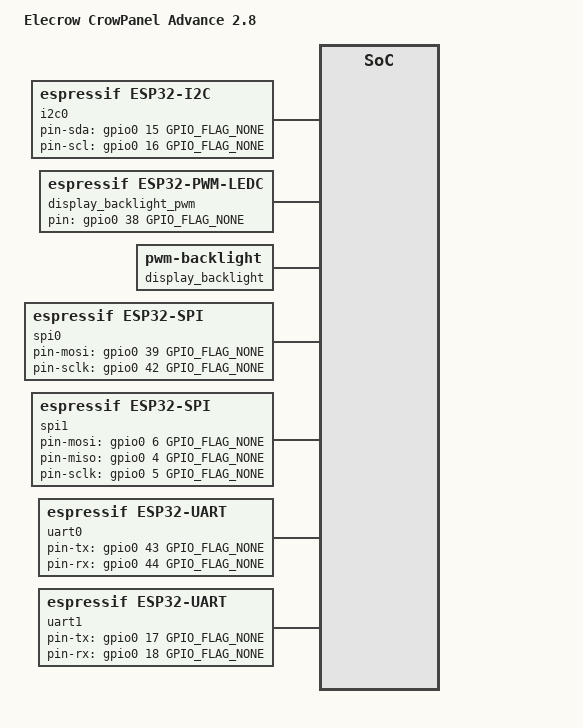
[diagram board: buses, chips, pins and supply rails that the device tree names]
/dts-v1/;

#include <tactility/bindings/root.h>
#include <tactility/bindings/esp32_ble.h>
#include <tactility/bindings/esp32_wifi_pinned.h>
#include <tactility/bindings/esp32_gpio.h>
#include <tactility/bindings/esp32_i2c.h>
#include <tactility/bindings/esp32_spi.h>
#include <tactility/bindings/esp32_uart.h>
#include <tactility/bindings/esp32_sdspi.h>
#include <tactility/bindings/esp32_pwm_ledc.h>
#include <tactility/bindings/pwm_backlight.h>
#include <bindings/st7789.h>
#include <bindings/ft5x06.h>

/ {
	compatible = "root";
	model = "Elecrow CrowPanel Advance 2.8";

	wifi0 {
		compatible = "espressif,esp32-wifi-pinned";
		status = "disabled";
	};

	ble0 {
		compatible = "espressif,esp32-ble";
		status = "disabled";
	};

	gpio0 {
		compatible = "espressif,esp32-gpio";
		gpio-count = <49>;
	};

	i2c0 {
		compatible = "espressif,esp32-i2c";
		port = <I2C_NUM_0>;
		clock-frequency = <400000>;
		pin-sda = <&gpio0 15 GPIO_FLAG_NONE>;
		pin-scl = <&gpio0 16 GPIO_FLAG_NONE>;

		touch0 {
			compatible = "focaltech,ft5x06";
			reg = <0x38>;
			x-max = <240>;
			y-max = <320>;
		};
	};

	display_backlight_pwm {
		compatible = "espressif,esp32-pwm-ledc";
		pin = <&gpio0 38 GPIO_FLAG_NONE>;
		period-ns = <33333>;
		ledc-timer = <0>;
		ledc-channel = <0>;
	};

	display_backlight {
		compatible = "pwm-backlight";
		pwm = <&display_backlight_pwm>;
	};

	spi0 {
		compatible = "espressif,esp32-spi";
		host = <SPI2_HOST>;
		cs-gpios = <&gpio0 40 GPIO_FLAG_NONE>;
		pin-mosi = <&gpio0 39 GPIO_FLAG_NONE>;
		pin-sclk = <&gpio0 42 GPIO_FLAG_NONE>;

		display@0 {
			compatible = "sitronix,st7789";
			horizontal-resolution = <240>;
			vertical-resolution = <320>;
			invert-color;
			pixel-clock-hz = <62500000>;
			pin-dc = <&gpio0 41 GPIO_FLAG_NONE>;
			backlight = <&display_backlight>;
		};
	};

	spi1 {
		compatible = "espressif,esp32-spi";
		host = <SPI3_HOST>;
		cs-gpios = <&gpio0 7 GPIO_FLAG_NONE>;
		pin-mosi = <&gpio0 6 GPIO_FLAG_NONE>;
		pin-miso = <&gpio0 4 GPIO_FLAG_NONE>;
		pin-sclk = <&gpio0 5 GPIO_FLAG_NONE>;
	
		sdcard@0 {
			compatible = "espressif,esp32-sdspi";
			frequency-khz = <20000>;
		};
	};

	uart0 {
		compatible = "espressif,esp32-uart";
		port = <UART_NUM_0>;
		pin-tx = <&gpio0 43 GPIO_FLAG_NONE>;
		pin-rx = <&gpio0 44 GPIO_FLAG_NONE>;
	};

	uart1 {
		compatible = "espressif,esp32-uart";
		port = <UART_NUM_1>;
		pin-tx = <&gpio0 17 GPIO_FLAG_NONE>;
		pin-rx = <&gpio0 18 GPIO_FLAG_NONE>;
	};
};
